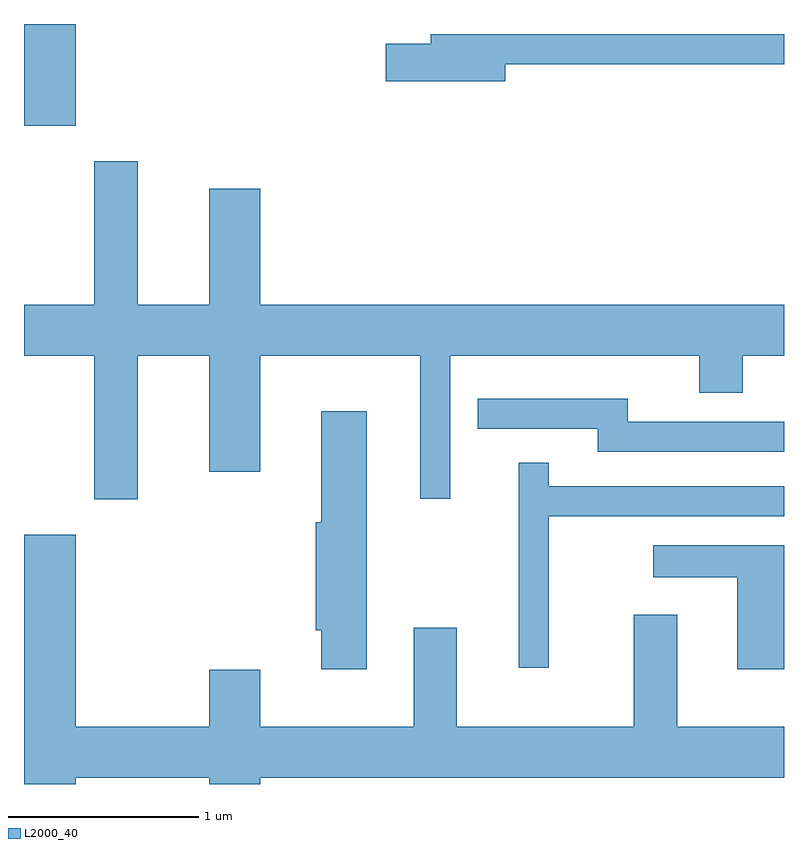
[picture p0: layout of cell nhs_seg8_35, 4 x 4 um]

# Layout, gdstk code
import gdstk
lib = gdstk.Library(unit=1e-6, precision=1e-09)
def R(c, l, rs):  # rectangles x0, y0, x1, y1
    for r in rs: c.add(gdstk.rectangle(r[:2], r[2:], *l))
def P(c, l, *ps):  # polygons
    for p in ps: c.add(gdstk.Polygon(p, *l))
L2000_40 = (2000, 40)

nhs_seg8_35 = lib.new_cell('nhs_seg8_35')
R(nhs_seg8_35, L2000_40, [(185.611,1879.806,185.884,1880.342)])
P(nhs_seg8_35, L2000_40, [(188.144,1880.131),(189.611,1880.131),(189.611,1880.289),(187.751,1880.289),(187.751,1880.239),(187.516,1880.239),(187.516,1880.041),(188.144,1880.041)],
  [(186.209,1878.596),(186.586,1878.596),(186.586,1877.986),(186.854,1877.986),(186.854,1878.596),(187.696,1878.596),(187.696,1877.843),(187.854,1877.843),(187.854,1878.596),(189.166,1878.596),(189.166,1878.401),(189.394,1878.401),(189.394,1878.596),(189.611,1878.596),(189.611,1878.864),(186.854,1878.864),(186.854,1879.474),(186.586,1879.474),(186.586,1878.864),(186.209,1878.864),(186.209,1879.619),(185.981,1879.619),(185.981,1878.864),(185.611,1878.864),(185.611,1878.596),(185.981,1878.596),(185.981,1877.841),(186.209,1877.841)],
  [(189.611,1878.249),(188.789,1878.249),(188.789,1878.369),(187.998,1878.369),(187.998,1878.211),(188.631,1878.211),(188.631,1878.091),(189.611,1878.091)],
  [(187.414,1878.304),(187.176,1878.304),(187.176,1877.719),(187.146,1877.719),(187.146,1877.151),(187.176,1877.151),(187.176,1876.946),(187.414,1876.946)],
  [(188.374,1877.751),(189.611,1877.751),(189.611,1877.909),(188.374,1877.909),(188.374,1878.033),(188.216,1878.033),(188.216,1876.953),(188.374,1876.953)],
  [(185.884,1876.376),(186.586,1876.376),(186.586,1876.342),(186.854,1876.342),(186.854,1876.376),(189.611,1876.376),(189.611,1876.644),(189.049,1876.644),(189.049,1877.234),(188.821,1877.234),(188.821,1876.644),(187.889,1876.644),(187.889,1877.164),(187.661,1877.164),(187.661,1876.644),(186.854,1876.644),(186.854,1876.944),(186.586,1876.944),(186.586,1876.644),(185.884,1876.644),(185.884,1877.654),(185.611,1877.654),(185.611,1876.342),(185.884,1876.342)],
  [(189.611,1877.599),(188.923,1877.599),(188.923,1877.431),(189.366,1877.431),(189.366,1876.946),(189.611,1876.946)])

lib.write_gds('nhs_seg8_35.gds')
